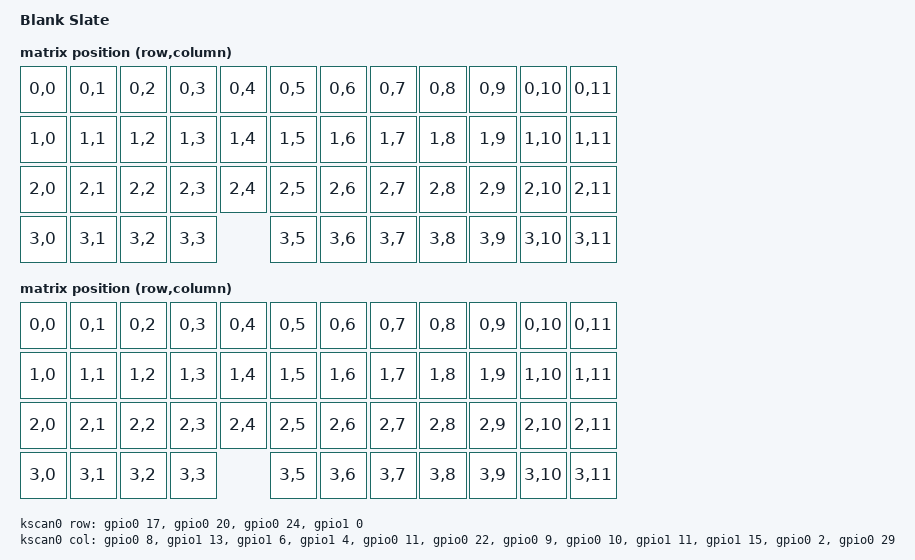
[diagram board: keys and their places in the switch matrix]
#include <dt-bindings/zmk/matrix_transform.h>

/ {
    model = "Blank Slate";
    compatible = "blank-slate";

    chosen {
        zmk,kscan = &kscan0;
        zmk,matrix_transform = &default_transform;
        zephyr,console = &cdc_acm_uart;
        zmk,keyboard-layout = &layout_ortho_4x12_all1u;
    };

    // Transformación de la matriz (12 columnas × 4 filas)
    default_transform: keymap_transform_0 {
        compatible = "zmk,matrix-transform";
        rows = <4>;
        columns = <12>;
        map = <
            RC(0,0)  RC(0,1)  RC(0,2)  RC(0,3)  RC(0,4)  RC(0,5)  RC(0,6)  RC(0,7)  RC(0,8)  RC(0,9)  RC(0,10) RC(0,11)
            RC(1,0)  RC(1,1)  RC(1,2)  RC(1,3)  RC(1,4)  RC(1,5)  RC(1,6)  RC(1,7)  RC(1,8)  RC(1,9)  RC(1,10) RC(1,11)
            RC(2,0)  RC(2,1)  RC(2,2)  RC(2,3)  RC(2,4)  RC(2,5)  RC(2,6)  RC(2,7)  RC(2,8)  RC(2,9)  RC(2,10) RC(2,11)
            RC(3,0)  RC(3,1)  RC(3,2)  RC(3,3)           RC(3,5)  RC(3,6)  RC(3,7)  RC(3,8)  RC(3,9)  RC(3,10) RC(3,11)
        >;
    };

    // Layout ortogonal 4x12 con todas las teclas 1u
    layout_ortho_4x12_all1u: layout_ortho_4x12_all1u {
        compatible = "zmk,matrix-transform";
        rows = <4>;
        columns = <12>;
        map = <
            RC(0,0)  RC(0,1)  RC(0,2)  RC(0,3)  RC(0,4)  RC(0,5)  RC(0,6)  RC(0,7)  RC(0,8)  RC(0,9)  RC(0,10) RC(0,11)
            RC(1,0)  RC(1,1)  RC(1,2)  RC(1,3)  RC(1,4)  RC(1,5)  RC(1,6)  RC(1,7)  RC(1,8)  RC(1,9)  RC(1,10) RC(1,11)
            RC(2,0)  RC(2,1)  RC(2,2)  RC(2,3)  RC(2,4)  RC(2,5)  RC(2,6)  RC(2,7)  RC(2,8)  RC(2,9)  RC(2,10) RC(2,11)
            RC(3,0)  RC(3,1)  RC(3,2)  RC(3,3)           RC(3,5)  RC(3,6)  RC(3,7)  RC(3,8)  RC(3,9)  RC(3,10) RC(3,11)
        >;
    };

    // Configuración del escaneo de la matriz (pines GPIO)
    kscan0: kscan {
        compatible = "zmk,kscan-gpio-matrix";
        diode-direction = "col2row";  // Diodos orientados de columnas a filas
        wakeup-source;               // Permite que el teclado despierte del modo de baja energía

        // Pines de filas (salidas)
        row-gpios = <
            &gpio0 17 (GPIO_ACTIVE_HIGH | GPIO_PULL_DOWN)  // F0: P0.17 ok
            &gpio0 20 (GPIO_ACTIVE_HIGH | GPIO_PULL_DOWN)  // F1: P0.20 ok
            &gpio0 24 (GPIO_ACTIVE_HIGH | GPIO_PULL_DOWN)  // F2: P0.24 ok
            &gpio1 0  (GPIO_ACTIVE_HIGH | GPIO_PULL_DOWN)  // F3: P1.00 ok
        >;

        // Pines de columnas (entradas) - INVERTIDOS
        col-gpios = <
            &gpio0 8 GPIO_ACTIVE_HIGH  // C0: P0.08
            &gpio1 13 GPIO_ACTIVE_HIGH  // C1: P1.13
            &gpio1 6 GPIO_ACTIVE_HIGH  // C2: P1.06
            &gpio1 4 GPIO_ACTIVE_HIGH  // C3: P1.04
            &gpio0 11 GPIO_ACTIVE_HIGH  // C4: P0.11
            &gpio0 22 GPIO_ACTIVE_HIGH  // C5: P0.22
            &gpio0 9 GPIO_ACTIVE_HIGH  // C6: P0.09
            &gpio0 10  GPIO_ACTIVE_HIGH  // C7: P0.10
            &gpio1 11 GPIO_ACTIVE_HIGH  // C8: P1.11
            &gpio1 15 GPIO_ACTIVE_HIGH  // C9: P1.15
            &gpio0 2  GPIO_ACTIVE_HIGH  // C10: P0.02
            &gpio0 29 GPIO_ACTIVE_HIGH  // C11: P0.29
        >;
    };

    // Configuración del sensor de batería (ADC en P0.31)
    vbatt: vbatt {
        compatible = "zmk,battery-voltage-divider";
        io-channels = <&adc 7>;  // ADC7 = P0.31
        output-ohms = <2000000>;     // Resistencia de 2MΩ en la placa
        full-ohms = <(2000000 + 806000)>;  // Resistencia total (2MΩ + 806kΩ)
    };
};

&pinctrl {
    spi3_default: spi3_default {
        group1 {
            psels = <NRF_PSEL(SPIM_SCK, 1, 13)>,
                    <NRF_PSEL(SPIM_MOSI, 1, 1)>,
                    <NRF_PSEL(SPIM_MISO, 1, 8)>;
        };
    };
    spi3_sleep: spi3_sleep {
        group1 {
            psels = <NRF_PSEL(SPIM_SCK, 1, 13)>,
                    <NRF_PSEL(SPIM_MOSI, 1, 1)>,
                    <NRF_PSEL(SPIM_MISO, 1, 8)>;
            low-power-enable;
        };
    };
};

// Configuraciones para optimizar el uso de la batería
&adc {
    status = "okay";
};

&gpio0 {
    status = "okay";
};

&gpio1 {
    status = "okay";
};

&usbd {
    status = "okay";
    cdc_acm_uart: cdc_acm_uart {
        compatible = "zephyr,cdc-acm-uart";
    };
};

&flash0 {
    /*
     * Para habilitar espacio para bootloader y settings de Zephyr
     */
    partitions {
        compatible = "fixed-partitions";
        #address-cells = <1>;
        #size-cells = <1>;

        sd_partition: partition@0 {
            label = "softdevice";
            reg = <0x00000000 0x00026000>;
        };
        code_partition: partition@26000 {
            label = "code_partition";
            reg = <0x00026000 0x000c6000>;
        };

        /*
         * Storage partition reservado para la configuración de ZMK
         * y las configuraciones de Bluetooth.
         */
        storage_partition: partition@ec000 {
            label = "storage";
            reg = <0x000ec000 0x00008000>;
        };

        adafruit_boot_partition: partition@f4000 {
            label = "adafruit_boot";
            reg = <0x000f4000 0x0000c000>;
        };
    };
};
